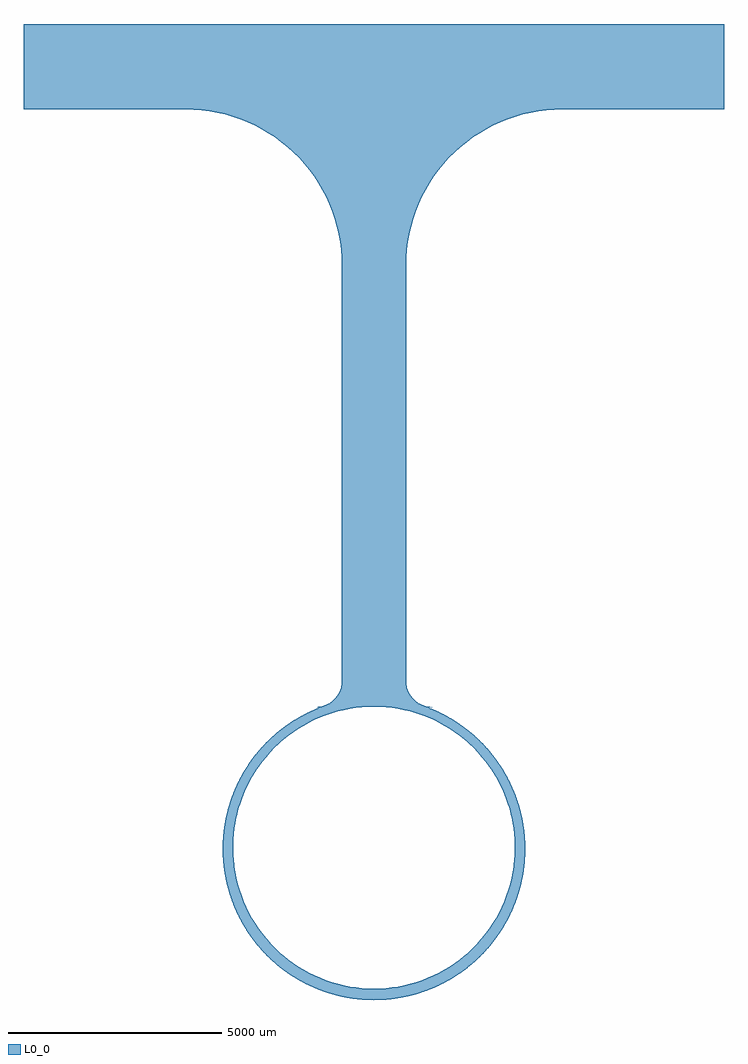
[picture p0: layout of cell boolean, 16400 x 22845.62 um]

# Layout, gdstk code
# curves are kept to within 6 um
import gdstk
lib = gdstk.Library(unit=1e-6, precision=1e-09)
def P(c, l, *ps):  # polygons
    for p in ps: c.add(gdstk.Polygon(p, *l))
L0_0 = (0, 0)

boolean = lib.new_cell('boolean')
P(boolean, L0_0, [(-8200,17310),(-4215.605,17305.315),(-3847.713,17267.904),(-3485.493,17193.466),(-3307.675,17142.585),(-2960.904,17014.155),(-2628.905,16851.302),(-2315.085,16655.697),(-2022.665,16429.347),(-1754.644,16174.574),(-1513.773,15893.993),(-1302.524,15590.483),(-1123.065,15267.159),(-977.236,14927.338),(-866.534,14574.507),(-792.096,14212.287),(-754.685,13844.395),(-750,3932.5),(-757.063,3839.75),(-788.127,3719.776),(-842.705,3608.51),(-918.564,3510.508),(-987.585,3448.15),(-1065.253,3396.963),(-1149.776,3358.127),(-1239.205,3332.538),(-1358.553,3320.1),(-1239.98,3320.1),(-1531.932,3195.736),(-1812.726,3045.038),(-2078.829,2869.698),(-2317.15,2680.645),(-2507.871,2502.813),(-2684.983,2311.425),(-2838.893,2119.156),(-2986.865,1904.44),(-3138.964,1640.994),(-3273.427,1352.074),(-3377.045,1066.064),(-3458.839,758.063),(-3512.604,443.954),(-3537.903,126.283),(-3534.531,-192.376),(-3504.589,-495.1),(-3470.229,-695.003),(-3420.776,-906.621),(-3362.983,-1101.049),(-3288.817,-1305.32),(-3117.462,-1672.84),(-3008.673,-1860.969),(-2896.897,-2030.227),(-2645.212,-2348.171),(-2506.129,-2495.812),(-2347.993,-2644.878),(-2181.009,-2783.961),(-2017.728,-2904.3),(-1671.851,-3115.966),(-1304.037,-3286.689),(-1113.403,-3355.974),(-905.111,-3417.961),(-507.791,-3499.017),(-306.302,-3522.35),(-89.323,-3534.499),(315.972,-3521.496),(531.726,-3495.464),(731.305,-3459.264),(942.458,-3407.864),(1136.346,-3348.284),(1512.304,-3196.334),(1781.511,-3054.68),(2037.562,-2890.437),(2278.568,-2704.818),(2496.506,-2505.406),(2111.905,-2505.406),(1892.802,-2673.202),(1773.089,-2753.192),(1523.77,-2897.136),(1262.855,-3018.802),(992.329,-3117.266),(714.251,-3191.777),(573.039,-3219.866),(287.614,-3257.443),(143.944,-3266.859),(0,-3270),(-287.614,-3257.443),(-573.039,-3219.866),(-854.103,-3157.555),(-1128.666,-3070.986),(-1394.64,-2960.816),(-1650,-2827.884),(-1773.089,-2753.192),(-2008.913,-2588.066),(-2121.199,-2497.947),(-2229.448,-2403.015),(-2427.794,-2204.902),(-2618.066,-1978.913),(-2783.192,-1743.089),(-2857.884,-1620),(-2990.816,-1364.64),(-3100.986,-1098.666),(-3147.266,-962.329),(-3221.777,-684.251),(-3249.866,-543.039),(-3287.443,-257.614),(-3296.859,-113.944),(-3300,30),(-3287.443,317.614),(-3249.866,603.039),(-3187.555,884.103),(-3100.986,1158.666),(-2996.485,1411.757),(-2927.136,1553.77),(-2783.192,1803.089),(-2618.066,2038.913),(-2527.947,2151.199),(-2333.452,2363.452),(-2178.771,2507.458),(-2008.913,2648.066),(-1773.089,2813.192),(-1650,2887.884),(-1394.64,3020.816),(-1128.666,3130.986),(-992.329,3177.266),(-714.251,3251.777),(-573.039,3279.866),(-287.614,3317.443),(0,3330),(287.614,3317.443),(430.736,3301.768),(714.251,3251.777),(992.329,3177.266),(1128.666,3130.986),(1394.64,3020.816),(1650,2887.884),(1773.089,2813.192),(2008.913,2648.066),(2178.771,2507.458),(2503.222,2507.458),(2198.083,2779.265),(1866.323,3012.435),(1562.291,3180.982),(1239.967,3320.1),(1358.553,3320.1),(1239.205,3332.538),(1149.776,3358.127),(1065.253,3396.963),(987.585,3448.15),(918.564,3510.508),(842.705,3608.51),(788.127,3719.776),(757.063,3839.75),(750,3932.5),(750,13659.5),(754.685,13844.395),(792.096,14212.287),(866.534,14574.507),(917.415,14752.325),(977.236,14927.338),(1123.065,15267.159),(1302.524,15590.483),(1513.773,15893.993),(1754.644,16174.574),(2022.665,16429.347),(2315.085,16655.697),(2628.905,16851.302),(2792.841,16936.935),(3132.662,17082.764),(3485.493,17193.466),(3665.66,17235.274),(3847.713,17267.904),(4215.605,17305.315),(8200,17310),(8200,19310),(-8200,19310)],
  [(2771.103,2207.23),(2503.222,2507.458),(2178.771,2507.458),(2333.452,2363.452),(2479.874,2206.016)],
  [(3004.844,1875.871),(2772.064,2206.016),(2479.874,2206.016),(2618.066,2038.913),(2741.994,1864.746),(3011.741,1864.746)],
  [(3134.457,1649.599),(3011.741,1864.746),(2741.994,1864.746),(2881.406,1637.125),(3140.972,1637.125)],
  [(3247.062,1414.401),(3140.972,1637.125),(2881.406,1637.125),(2996.485,1411.757)],
  [(3342.048,1171.551),(3248.203,1411.757),(2996.485,1411.757),(3098.016,1166.302)],
  [(3403.411,978.221),(3343.869,1166.302),(3098.016,1166.302),(3161.825,972.38)],
  [(3453.601,781.693),(3405.069,972.38),(3161.825,972.38),(3216.014,767.804),(3456.697,767.804)],
  [(3490.056,596.904),(3456.697,767.804),(3216.014,767.804),(3250.954,595.97)],
  [(3507.585,482.321),(3505.599,496.674),(3503.554,511.019),(3501.451,525.356),(3499.289,539.684),(3497.069,554.003),(3494.79,568.313),(3492.452,582.613),(3490.213,595.97),(3250.954,595.97),(3268.566,481.542),(3507.689,481.542)],
  [(3519.838,381.635),(3518.264,396.04),(3516.631,410.438),(3514.94,424.829),(3513.189,439.213),(3511.38,453.59),(3509.512,467.959),(3507.689,481.542),(3268.566,481.542),(3271.768,460.736),(3280.503,380.98),(3519.907,380.98)],
  [(3530.302,266.192),(3519.907,380.98),(3280.503,380.98),(3291.579,254.512),(3531.145,254.512)],
  [(3536.354,164.945),(3535.667,179.419),(3534.921,193.89),(3534.116,208.358),(3533.251,222.822),(3532.327,237.283),(3531.344,251.74),(3531.145,254.512),(3291.579,254.512),(3296.859,173.944),(3297.353,151.297),(3536.946,151.297)],
  [(3539.503,63.566),(3539.231,78.053),(3538.9,92.54),(3538.509,107.025),(3538.059,121.508),(3537.55,135.989),(3536.982,150.468),(3536.946,151.297),(3297.353,151.297),(3299.328,60.781),(3539.544,60.781)],
  [(3539.543,-52.351),(3539.544,60.781),(3299.328,60.781),(3298.058,-58.99),(3539.423,-58.99)],
  [(3537.083,-139.255),(3537.641,-124.776),(3538.14,-110.294),(3538.58,-95.811),(3538.96,-81.325),(3539.281,-66.839),(3539.423,-58.99),(3298.058,-58.99),(3296.859,-113.944),(3294.448,-150.734),(3536.593,-150.734)],
  [(3531.516,-240.53),(3532.489,-226.073),(3533.403,-211.611),(3534.257,-197.146),(3535.052,-182.678),(3535.788,-168.207),(3536.465,-153.732),(3536.593,-150.734),(3294.448,-150.734),(3287.801,-252.145),(3530.687,-252.145)],
  [(3520.1,-370.434),(3530.687,-252.145),(3287.801,-252.145),(3274.193,-378.59),(3519.214,-378.59)],
  [(3507.917,-471.128),(3509.834,-456.765),(3511.692,-442.394),(3513.491,-428.016),(3515.232,-413.631),(3516.913,-399.239),(3518.536,-384.84),(3519.214,-378.59),(3274.193,-378.59),(3271.768,-400.736),(3259.588,-479.87),(3506.714,-479.87)],
  [(3490.468,-585.724),(3506.714,-479.87),(3259.588,-479.87),(3239.787,-593.71),(3489.101,-593.71)],
  [(3457.285,-756.393),(3489.101,-593.71),(3239.787,-593.71),(3202.132,-764.533),(3455.476,-764.533)],
  [(3404.089,-967.1),(3455.476,-764.533),(3202.132,-764.533),(3144.889,-969.33)],
  [(3342.86,-1160.473),(3403.448,-969.33),(3144.889,-969.33),(3075.592,-1163.965)],
  [(3248.044,-1403.389),(3341.635,-1163.965),(3075.592,-1163.965),(2969.25,-1408.372)],
  [(3142.302,-1625.818),(3245.872,-1408.372),(2969.25,-1408.372),(2849.222,-1634.275),(3137.892,-1634.275)],
  [(3013.774,-1852.707),(3137.892,-1634.275),(2849.222,-1634.275),(2701.954,-1864.504),(3006.471,-1864.504)],
  [(2772.638,-2196.55),(3006.471,-1864.504),(2701.954,-1864.504),(2527.947,-2091.199),(2427.794,-2204.902),(2765.98,-2204.902)],
  [(2502.747,-2499.192),(2765.98,-2204.902),(2427.794,-2204.902),(2229.448,-2403.015),(2111.905,-2505.406),(2496.506,-2505.406)])

lib.write_gds('boolean.gds')
